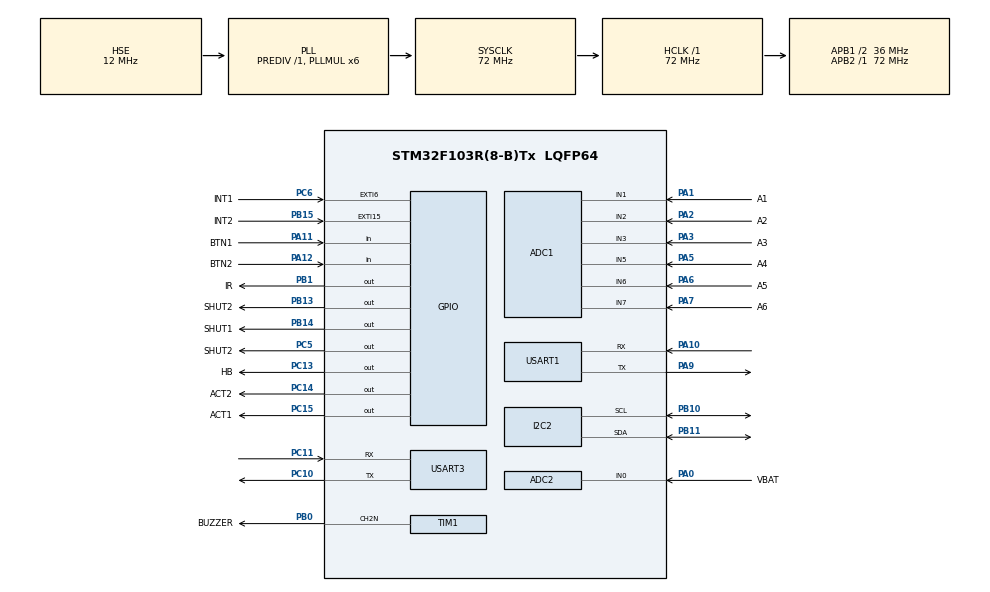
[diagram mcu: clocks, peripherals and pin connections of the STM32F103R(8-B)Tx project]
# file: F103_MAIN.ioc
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ADC1.Channel-0\#ChannelRegularConversion=ADC_CHANNEL_1
ADC1.Channel-1\#ChannelRegularConversion=ADC_CHANNEL_2
ADC1.Channel-2\#ChannelRegularConversion=ADC_CHANNEL_3
ADC1.Channel-3\#ChannelRegularConversion=ADC_CHANNEL_5
ADC1.Channel-4\#ChannelRegularConversion=ADC_CHANNEL_6
ADC1.Channel-5\#ChannelRegularConversion=ADC_CHANNEL_7
ADC1.ContinuousConvMode=ENABLE
ADC1.NbrOfConversion=6
ADC1.NbrOfConversionFlag=1
ADC1.Rank-0\#ChannelRegularConversion=1
ADC1.Rank-1\#ChannelRegularConversion=2
ADC1.Rank-2\#ChannelRegularConversion=3
ADC1.Rank-3\#ChannelRegularConversion=4
ADC1.Rank-4\#ChannelRegularConversion=5
ADC1.Rank-5\#ChannelRegularConversion=6
ADC1.SamplingTime-0\#ChannelRegularConversion=ADC_SAMPLETIME_239CYCLES_5
ADC1.SamplingTime-1\#ChannelRegularConversion=ADC_SAMPLETIME_239CYCLES_5
ADC1.SamplingTime-2\#ChannelRegularConversion=ADC_SAMPLETIME_239CYCLES_5
ADC1.SamplingTime-3\#ChannelRegularConversion=ADC_SAMPLETIME_239CYCLES_5
ADC1.SamplingTime-4\#ChannelRegularConversion=ADC_SAMPLETIME_239CYCLES_5
ADC1.SamplingTime-5\#ChannelRegularConversion=ADC_SAMPLETIME_239CYCLES_5
ADC1.master=1
ADC2.Channel-0\#ChannelRegularConversion=ADC_CHANNEL_0
ADC2.NbrOfConversionFlag=1
ADC2.Rank-0\#ChannelRegularConversion=1
ADC2.SamplingTime-0\#ChannelRegularConversion=ADC_SAMPLETIME_239CYCLES_5
Dma.ADC1.0.Direction=DMA_PERIPH_TO_MEMORY
Dma.ADC1.0.Instance=DMA1_Channel1
Dma.ADC1.0.MemDataAlignment=DMA_MDATAALIGN_HALFWORD
Dma.ADC1.0.MemInc=DMA_MINC_ENABLE
Dma.ADC1.0.Mode=DMA_CIRCULAR
Dma.ADC1.0.PeriphDataAlignment=DMA_PDATAALIGN_HALFWORD
Dma.ADC1.0.PeriphInc=DMA_PINC_DISABLE
Dma.ADC1.0.Priority=DMA_PRIORITY_LOW
Dma.Request0=ADC1
Mcu.Family=STM32F1
Mcu.Name=STM32F103R(8-B)Tx
Mcu.Package=LQFP64
NVIC.ADC1_2_IRQn=true\:0\:0\:false\:false\:true\:true\:true\:true
NVIC.DMA1_Channel1_IRQn=true\:0\:0\:false\:false\:true\:false\:true\:true
NVIC.PriorityGroup=NVIC_PRIORITYGROUP_4
PA0-WKUP.GPIO_Label=VBAT
PA0-WKUP.Signal=ADCx_IN0
PA1.GPIO_Label=A1
PA1.Signal=ADCx_IN1
PA10.Mode=Asynchronous
PA10.Signal=USART1_RX
PA11.GPIO_Label=BTN1
PA11.Signal=GPIO_Input
PA12.GPIO_Label=BTN2
PA12.Signal=GPIO_Input
PA13.Mode=Trace_Asynchronous_SW
PA13.Signal=SYS_JTMS-SWDIO
PA14.Mode=Trace_Asynchronous_SW
PA14.Signal=SYS_JTCK-SWCLK
PA2.GPIO_Label=A2
PA2.Signal=ADCx_IN2
PA3.GPIO_Label=A3
PA3.Signal=ADCx_IN3
PA5.GPIO_Label=A4
PA5.Signal=ADCx_IN5
PA6.GPIO_Label=A5
PA6.Signal=ADCx_IN6
PA7.GPIO_Label=A6
PA7.Signal=ADCx_IN7
PA9.Mode=Asynchronous
PA9.Signal=USART1_TX
PB0.GPIO_Label=BUZZER
PB0.GPIO_Speed=GPIO_SPEED_FREQ_HIGH
PB0.Mode=PWM Generation2 CH2N
PB0.Signal=TIM1_CH2N
PB1.GPIO_Label=IR
PB1.Signal=GPIO_Output
PB10.Mode=I2C
PB10.Signal=I2C2_SCL
PB11.Mode=I2C
PB11.Signal=I2C2_SDA
PB13.GPIO_Label=SHUT2
PB13.Signal=GPIO_Output
PB14.GPIO_Label=SHUT1
PB14.Signal=GPIO_Output
PB15.GPIO_Label=INT2
PB15.Signal=GPXTI15
PB3.Mode=Trace_Asynchronous_SW
PB3.Signal=SYS_JTDO-TRACESWO
PC10.Mode=Asynchronous
PC10.Signal=USART3_TX
PC11.Mode=Asynchronous
PC11.Signal=USART3_RX
PC13-TAMPER-RTC.GPIO_Label=HB
PC13-TAMPER-RTC.Signal=GPIO_Output
PC14-OSC32_IN.GPIO_Label=ACT2
PC14-OSC32_IN.Signal=GPIO_Output
PC15-OSC32_OUT.GPIO_Label=ACT1
PC15-OSC32_OUT.Signal=GPIO_Output
PC5.GPIO_Label=SHUT2
PC5.Signal=GPIO_Output
PC6.GPIO_Label=INT1
PC6.Signal=GPXTI6
PD0-OSC_IN.Mode=HSE-External-Oscillator
PD0-OSC_IN.Signal=RCC_OSC_IN
PD1-OSC_OUT.Mode=HSE-External-Oscillator
PD1-OSC_OUT.Signal=RCC_OSC_OUT
ProjectManager.HeapSize=0x200
ProjectManager.StackSize=0x400
ProjectManager.TargetToolchain=STM32CubeIDE
RCC.ADCPresc=RCC_ADCPCLK2_DIV8
RCC.AHBFreq_Value=72000000
RCC.APB1CLKDivider=RCC_HCLK_DIV2
RCC.APB1Freq_Value=36000000
RCC.APB1TimFreq_Value=72000000
RCC.APB2Freq_Value=72000000
RCC.APB2TimFreq_Value=72000000
RCC.HCLKFreq_Value=72000000
RCC.HSE_VALUE=12000000
RCC.PLLMUL=RCC_PLL_MUL6
RCC.PLLSourceVirtual=RCC_PLLSOURCE_HSE
RCC.SYSCLKFreq_VALUE=72000000
RCC.SYSCLKSource=RCC_SYSCLKSOURCE_PLLCLK
RCC.USBFreq_Value=72000000
SH.ADCx_IN0.0=ADC2_IN0,IN0
SH.ADCx_IN1.0=ADC1_IN1,IN1
SH.ADCx_IN2.0=ADC1_IN2,IN2
SH.ADCx_IN3.0=ADC1_IN3,IN3
SH.ADCx_IN5.0=ADC1_IN5,IN5
SH.ADCx_IN6.0=ADC1_IN6,IN6
SH.ADCx_IN7.0=ADC1_IN7,IN7
TIM1.Channel-PWM\ Generation2\ CH2N=TIM_CHANNEL_2
TIM1.OCMode_PWM-PWM\ Generation2\ CH2N=TIM_OCMODE_PWM1
TIM1.Prescaler=8-1
TIM1.Pulse-PWM\ Generation2\ CH2N=50-1
USART1.VirtualMode=VM_ASYNC
USART3.VirtualMode=VM_ASYNC
board=custom

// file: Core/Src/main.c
/* USER CODE BEGIN Header */
/**
  ******************************************************************************
  * @file           : main.c
  * @brief          : Main program body
  * @programmer     : lmaoPkk
  ******************************************************************************
  * @attention
  *
  * Copyright (c) 2026 STMicroelectronics.
  * All rights reserved.
  *
  * This software is licensed under terms that can be found in the LICENSE file
  * in the root directory of this software component.
  * If no LICENSE file comes with this software, it is provided AS-IS.
  *
  ******************************************************************************
  */
/* USER CODE END Header */
#include "main.h"

/* USER CODE BEGIN Includes */
#include <stdbool.h>
#include "Debug.h"
#include "VL53L1X_api.h"
#include "MOTOR_Link.h"
#include "buzzer.h"
#include "buzzer_examples.h"

/* USER CODE END Includes */

/* USER CODE BEGIN PTD */
typedef struct {
	uint16_t init_addr;      // Initial I2C bus address for the sensor
	uint16_t op_addr;        // Address after running intialization sequence
	GPIO_TypeDef* shutPort;
	uint16_t shutPin;
	GPIO_TypeDef* intPort;
	uint16_t intPin;
	VL53L1X_ERROR status;
}ToF_sensor;

#define no_of_ref_sensor 6
typedef struct {
	GPIO_TypeDef* IRPort;
	uint16_t IRPin;
	uint16_t sensor_value[no_of_ref_sensor];
	int16_t weights [no_of_ref_sensor];
}IR_array;
/* USER CODE END PTD */

/* USER CODE BEGIN PD */
#define rx_buff_size 10

/* USER CODE END PD */

/* USER CODE BEGIN PM */
#ifdef __GNUC__
#define PUTCHAR_PROTOTYPE int __io_putchar(int ch)
#else
#define PUTCHAR_PROTOTYPE int fputc(int ch, FILE *f)
#endif
/* USER CODE END PM */

ADC_HandleTypeDef hadc1;
ADC_HandleTypeDef hadc2;
DMA_HandleTypeDef hdma_adc1;

I2C_HandleTypeDef hi2c2;

TIM_HandleTypeDef htim1;

UART_HandleTypeDef huart1;
UART_HandleTypeDef huart3;

/* USER CODE BEGIN PV */
Buzzer_HandleTypeDef hbuzzer;

uint32_t value_adc;

ToF_sensor ToF_left = {
		.init_addr = 0x52,
		.op_addr = 0x052,
		.shutPort = SHUT1_GPIO_Port,
		.shutPin = SHUT1_Pin,
};
ToF_sensor ToF_right = {
		.init_addr = 0x52,
		.op_addr = 0x054,
		.shutPort = SHUT2_GPIO_Port,
		.shutPin = SHUT2_Pin,
};

VL53L1X_ERROR VL53L1X_status;

uint16_t distance;
uint8_t rangeStatus;
uint8_t rangeDataReady;

IR_array ir_sensor = {
		.IRPort = IR_GPIO_Port,
		.IRPin = IR_Pin,
		.sensor_value = {0, 0, 0, 0, 0, 0},
		.weights = {-300, -180, -60, 60, 180, 300}
};
uint16_t reflectiveArray[no_of_ref_sensor];
int16_t lineSensorWeight[] = {-300, -180, -60, 60, 180, 300};

double test_linePos;

float VBAT_divider = 102.67f / 4095.0f;// Conversion ratio, w/10x real voltage
uint8_t VBAT = 0;
/* USER CODE END PV */

void SystemClock_Config(void);
static void MX_GPIO_Init(void);
static void MX_DMA_Init(void);
static void MX_ADC1_Init(void);
static void MX_ADC2_Init(void);
static void MX_I2C2_Init(void);
static void MX_USART1_UART_Init(void);
static void MX_USART3_UART_Init(void);
static void MX_TIM1_Init(void);
/* USER CODE BEGIN PFP */
void debug_HB(void);
void tofSensorRoutine(uint16_t dev, uint8_t newDev, GPIO_TypeDef* shutPort, uint16_t shutPin);
uint8_t getVBAT();
uint16_t test_norm_value[] = {9, 494, 789, 37, 0, 0};
int16_t test_weights[] = {-375, -225, -75, 75, 225, 375};
double getLinePosition(uint16_t *norm_sensor_value, int16_t *weights);

void startupSound();
/* USER CODE END PFP */

/* USER CODE BEGIN 0 */
Buzzer_InitTypeDef buzzerConfig;

/* USER CODE END 0 */

int main(void)
{

  /* MCU Configuration--------------------------------------------------------*/

  /* Reset of all peripherals, Initializes the Flash interface and the Systick. */
  HAL_Init();

  /* Configure the system clock */
  SystemClock_Config();

  /* Initialize all configured peripherals */
  MX_GPIO_Init();
  MX_DMA_Init();
  MX_ADC1_Init();
  MX_ADC2_Init();
  MX_I2C2_Init();
  MX_USART1_UART_Init();
  MX_USART3_UART_Init();
  MX_TIM1_Init();
  /* USER CODE BEGIN 2 */
  //ToF sensors intialization
  tofSensorRoutine(ToF_left.init_addr,
		  	  	   ToF_left.op_addr,
				   ToF_left.shutPort,
				   ToF_left.shutPin);
  VL53L1X_StartRanging(ToF_left.op_addr);
  HAL_Delay(10);
//  tofSensorRoutine(ToF_right.init_addr,
//  		  	  	   ToF_right.op_addr,
//  				   ToF_right.shutPort,
//  				   ToF_right.shutPin);

  // ADC START
  HAL_GPIO_WritePin(IR_GPIO_Port, IR_Pin, GPIO_PIN_SET);
  HAL_ADC_Start_DMA(&hadc1, (uint32_t*)reflectiveArray, 6);

  test_linePos = getLinePosition(test_norm_value, test_weights);

  //startupSound();
  /* USER CODE END 2 */

  /* Infinite loop */
  /* USER CODE BEGIN WHILE */
  while (1)
  {

	  VL53L1X_CheckForDataReady(ToF_left.op_addr, &rangeDataReady);
	  if (rangeDataReady) {
		  rangeDataReady = 0;
		  VL53L1X_GetRangeStatus(ToF_left.op_addr, &rangeStatus);
		  VL53L1X_GetDistance(ToF_left.op_addr, &distance);
		  printf("R%dS%d\n", distance, rangeStatus);
		  VL53L1X_ClearInterrupt(ToF_left.op_addr);
//		  Rrate = 1000.0f / (HAL_GetTick() - last);
//		  last = HAL_GetTick();
	  }
	  debug_HB();
	  VBAT = getVBAT();
	  HAL_Delay(10);
    /* USER CODE END WHILE */

  }
}

void SystemClock_Config(void)
{
  RCC_OscInitTypeDef RCC_OscInitStruct = {0};
  RCC_ClkInitTypeDef RCC_ClkInitStruct = {0};
  RCC_PeriphCLKInitTypeDef PeriphClkInit = {0};

  /** Initializes the RCC Oscillators according to the specified parameters
  * in the RCC_OscInitTypeDef structure.
  */
  RCC_OscInitStruct.OscillatorType = RCC_OSCILLATORTYPE_HSE;
  RCC_OscInitStruct.HSEState = RCC_HSE_ON;
  RCC_OscInitStruct.HSEPredivValue = RCC_HSE_PREDIV_DIV1;
  RCC_OscInitStruct.HSIState = RCC_HSI_ON;
  RCC_OscInitStruct.PLL.PLLState = RCC_PLL_ON;
  RCC_OscInitStruct.PLL.PLLSource = RCC_PLLSOURCE_HSE;
  RCC_OscInitStruct.PLL.PLLMUL = RCC_PLL_MUL6;
  if (HAL_RCC_OscConfig(&RCC_OscInitStruct) != HAL_OK)
  {
    Error_Handler();
  }

  /** Initializes the CPU, AHB and APB buses clocks
  */
  RCC_ClkInitStruct.ClockType = RCC_CLOCKTYPE_HCLK|RCC_CLOCKTYPE_SYSCLK
                              |RCC_CLOCKTYPE_PCLK1|RCC_CLOCKTYPE_PCLK2;
  RCC_ClkInitStruct.SYSCLKSource = RCC_SYSCLKSOURCE_PLLCLK;
  RCC_ClkInitStruct.AHBCLKDivider = RCC_SYSCLK_DIV1;
  RCC_ClkInitStruct.APB1CLKDivider = RCC_HCLK_DIV2;
  RCC_ClkInitStruct.APB2CLKDivider = RCC_HCLK_DIV1;

  if (HAL_RCC_ClockConfig(&RCC_ClkInitStruct, FLASH_LATENCY_2) != HAL_OK)
  {
    Error_Handler();
  }
  PeriphClkInit.PeriphClockSelection = RCC_PERIPHCLK_ADC;
  PeriphClkInit.AdcClockSelection = RCC_ADCPCLK2_DIV8;
  if (HAL_RCCEx_PeriphCLKConfig(&PeriphClkInit) != HAL_OK)
  {
    Error_Handler();
  }
}

static void MX_ADC1_Init(void)
{

  ADC_ChannelConfTypeDef sConfig = {0};

  /** Common config
  */
  hadc1.Instance = ADC1;
  hadc1.Init.ScanConvMode = ADC_SCAN_ENABLE;
  hadc1.Init.ContinuousConvMode = ENABLE;
  hadc1.Init.DiscontinuousConvMode = DISABLE;
  hadc1.Init.ExternalTrigConv = ADC_SOFTWARE_START;
  hadc1.Init.DataAlign = ADC_DATAALIGN_RIGHT;
  hadc1.Init.NbrOfConversion = 6;
  if (HAL_ADC_Init(&hadc1) != HAL_OK)
  {
    Error_Handler();
  }

  /** Configure Regular Channel
  */
  sConfig.Channel = ADC_CHANNEL_1;
  sConfig.Rank = ADC_REGULAR_RANK_1;
  sConfig.SamplingTime = ADC_SAMPLETIME_239CYCLES_5;
  if (HAL_ADC_ConfigChannel(&hadc1, &sConfig) != HAL_OK)
  {
    Error_Handler();
  }

  /** Configure Regular Channel
  */
  sConfig.Channel = ADC_CHANNEL_2;
  sConfig.Rank = ADC_REGULAR_RANK_2;
  if (HAL_ADC_ConfigChannel(&hadc1, &sConfig) != HAL_OK)
  {
    Error_Handler();
  }

  /** Configure Regular Channel
  */
  sConfig.Channel = ADC_CHANNEL_3;
  sConfig.Rank = ADC_REGULAR_RANK_3;
  if (HAL_ADC_ConfigChannel(&hadc1, &sConfig) != HAL_OK)
  {
    Error_Handler();
  }

  /** Configure Regular Channel
  */
  sConfig.Channel = ADC_CHANNEL_5;
  sConfig.Rank = ADC_REGULAR_RANK_4;
  if (HAL_ADC_ConfigChannel(&hadc1, &sConfig) != HAL_OK)
  {
    Error_Handler();
  }

  /** Configure Regular Channel
  */
  sConfig.Channel = ADC_CHANNEL_6;
  sConfig.Rank = ADC_REGULAR_RANK_5;
  if (HAL_ADC_ConfigChannel(&hadc1, &sConfig) != HAL_OK)
  {
    Error_Handler();
  }

  /** Configure Regular Channel
  */
  sConfig.Channel = ADC_CHANNEL_7;
  sConfig.Rank = ADC_REGULAR_RANK_6;
  if (HAL_ADC_ConfigChannel(&hadc1, &sConfig) != HAL_OK)
  {
    Error_Handler();
  }

}

static void MX_ADC2_Init(void)
{

  ADC_ChannelConfTypeDef sConfig = {0};

  /** Common config
  */
  hadc2.Instance = ADC2;
  hadc2.Init.ScanConvMode = ADC_SCAN_DISABLE;
  hadc2.Init.ContinuousConvMode = DISABLE;
  hadc2.Init.DiscontinuousConvMode = DISABLE;
  hadc2.Init.ExternalTrigConv = ADC_SOFTWARE_START;
  hadc2.Init.DataAlign = ADC_DATAALIGN_RIGHT;
  hadc2.Init.NbrOfConversion = 1;
  if (HAL_ADC_Init(&hadc2) != HAL_OK)
  {
    Error_Handler();
  }

  /** Configure Regular Channel
  */
  sConfig.Channel = ADC_CHANNEL_0;
  sConfig.Rank = ADC_REGULAR_RANK_1;
  sConfig.SamplingTime = ADC_SAMPLETIME_239CYCLES_5;
  if (HAL_ADC_ConfigChannel(&hadc2, &sConfig) != HAL_OK)
  {
    Error_Handler();
  }

}

static void MX_I2C2_Init(void)
{

  hi2c2.Instance = I2C2;
  hi2c2.Init.ClockSpeed = 100000;
  hi2c2.Init.DutyCycle = I2C_DUTYCYCLE_2;
  hi2c2.Init.OwnAddress1 = 0;
  hi2c2.Init.AddressingMode = I2C_ADDRESSINGMODE_7BIT;
  hi2c2.Init.DualAddressMode = I2C_DUALADDRESS_DISABLE;
  hi2c2.Init.OwnAddress2 = 0;
  hi2c2.Init.GeneralCallMode = I2C_GENERALCALL_DISABLE;
  hi2c2.Init.NoStretchMode = I2C_NOSTRETCH_DISABLE;
  if (HAL_I2C_Init(&hi2c2) != HAL_OK)
  {
    Error_Handler();
  }

}

static void MX_TIM1_Init(void)
{

  TIM_MasterConfigTypeDef sMasterConfig = {0};
  TIM_OC_InitTypeDef sConfigOC = {0};
  TIM_BreakDeadTimeConfigTypeDef sBreakDeadTimeConfig = {0};

  htim1.Instance = TIM1;
  htim1.Init.Prescaler = 8-1;
  htim1.Init.CounterMode = TIM_COUNTERMODE_UP;
  htim1.Init.Period = 65535;
  htim1.Init.ClockDivision = TIM_CLOCKDIVISION_DIV1;
  htim1.Init.RepetitionCounter = 0;
  htim1.Init.AutoReloadPreload = TIM_AUTORELOAD_PRELOAD_DISABLE;
  if (HAL_TIM_PWM_Init(&htim1) != HAL_OK)
  {
    Error_Handler();
  }
  sMasterConfig.MasterOutputTrigger = TIM_TRGO_RESET;
  sMasterConfig.MasterSlaveMode = TIM_MASTERSLAVEMODE_DISABLE;
  if (HAL_TIMEx_MasterConfigSynchronization(&htim1, &sMasterConfig) != HAL_OK)
  {
    Error_Handler();
  }
  sConfigOC.OCMode = TIM_OCMODE_PWM1;
  sConfigOC.Pulse = 50-1;
  sConfigOC.OCPolarity = TIM_OCPOLARITY_HIGH;
  sConfigOC.OCNPolarity = TIM_OCNPOLARITY_HIGH;
  sConfigOC.OCFastMode = TIM_OCFAST_DISABLE;
  sConfigOC.OCIdleState = TIM_OCIDLESTATE_RESET;
  sConfigOC.OCNIdleState = TIM_OCNIDLESTATE_RESET;
  if (HAL_TIM_PWM_ConfigChannel(&htim1, &sConfigOC, TIM_CHANNEL_2) != HAL_OK)
  {
    Error_Handler();
  }
  sBreakDeadTimeConfig.OffStateRunMode = TIM_OSSR_DISABLE;
  sBreakDeadTimeConfig.OffStateIDLEMode = TIM_OSSI_DISABLE;
  sBreakDeadTimeConfig.LockLevel = TIM_LOCKLEVEL_OFF;
  sBreakDeadTimeConfig.DeadTime = 0;
  sBreakDeadTimeConfig.BreakState = TIM_BREAK_DISABLE;
  sBreakDeadTimeConfig.BreakPolarity = TIM_BREAKPOLARITY_HIGH;
  sBreakDeadTimeConfig.AutomaticOutput = TIM_AUTOMATICOUTPUT_DISABLE;
  if (HAL_TIMEx_ConfigBreakDeadTime(&htim1, &sBreakDeadTimeConfig) != HAL_OK)
  {
    Error_Handler();
  }
  HAL_TIM_MspPostInit(&htim1);

}

static void MX_USART1_UART_Init(void)
{

  huart1.Instance = USART1;
  huart1.Init.BaudRate = 115200;
  huart1.Init.WordLength = UART_WORDLENGTH_8B;
  huart1.Init.StopBits = UART_STOPBITS_1;
  huart1.Init.Parity = UART_PARITY_NONE;
  huart1.Init.Mode = UART_MODE_TX_RX;
  huart1.Init.HwFlowCtl = UART_HWCONTROL_NONE;
  huart1.Init.OverSampling = UART_OVERSAMPLING_16;
  if (HAL_UART_Init(&huart1) != HAL_OK)
  {
    Error_Handler();
  }

}

static void MX_USART3_UART_Init(void)
{

  huart3.Instance = USART3;
  huart3.Init.BaudRate = 115200;
  huart3.Init.WordLength = UART_WORDLENGTH_8B;
  huart3.Init.StopBits = UART_STOPBITS_1;
  huart3.Init.Parity = UART_PARITY_NONE;
  huart3.Init.Mode = UART_MODE_TX_RX;
  huart3.Init.HwFlowCtl = UART_HWCONTROL_NONE;
  huart3.Init.OverSampling = UART_OVERSAMPLING_16;
  if (HAL_UART_Init(&huart3) != HAL_OK)
  {
    Error_Handler();
  }

}

static void MX_DMA_Init(void)
{

  /* DMA controller clock enable */
  __HAL_RCC_DMA1_CLK_ENABLE();

  /* DMA interrupt init */
  /* DMA1_Channel1_IRQn interrupt configuration */
  HAL_NVIC_SetPriority(DMA1_Channel1_IRQn, 0, 0);
  HAL_NVIC_EnableIRQ(DMA1_Channel1_IRQn);

}

static void MX_GPIO_Init(void)
{
  GPIO_InitTypeDef GPIO_InitStruct = {0};

  /* GPIO Ports Clock Enable */
  __HAL_RCC_GPIOC_CLK_ENABLE();
  __HAL_RCC_GPIOD_CLK_ENABLE();
  __HAL_RCC_GPIOA_CLK_ENABLE();
  __HAL_RCC_GPIOB_CLK_ENABLE();

  /*Configure GPIO pin Output Level */
  HAL_GPIO_WritePin(GPIOC, HB_Pin|ACT2_Pin|ACT1_Pin|SHUT2_Pin, GPIO_PIN_RESET);

  /*Configure GPIO pin Output Level */
  HAL_GPIO_WritePin(GPIOB, IR_Pin|SHUT2B13_Pin|SHUT1_Pin, GPIO_PIN_RESET);

  /*Configure GPIO pins : HB_Pin ACT2_Pin ACT1_Pin SHUT2_Pin */
  GPIO_InitStruct.Pin = HB_Pin|ACT2_Pin|ACT1_Pin|SHUT2_Pin;
  GPIO_InitStruct.Mode = GPIO_MODE_OUTPUT_PP;
  GPIO_InitStruct.Pull = GPIO_NOPULL;
  GPIO_InitStruct.Speed = GPIO_SPEED_FREQ_LOW;
  HAL_GPIO_Init(GPIOC, &GPIO_InitStruct);

  /*Configure GPIO pins : IR_Pin SHUT2B13_Pin SHUT1_Pin */
  GPIO_InitStruct.Pin = IR_Pin|SHUT2B13_Pin|SHUT1_Pin;
  GPIO_InitStruct.Mode = GPIO_MODE_OUTPUT_PP;
  GPIO_InitStruct.Pull = GPIO_NOPULL;
  GPIO_InitStruct.Speed = GPIO_SPEED_FREQ_LOW;
  HAL_GPIO_Init(GPIOB, &GPIO_InitStruct);

  /*Configure GPIO pin : INT2_Pin */
  GPIO_InitStruct.Pin = INT2_Pin;
  GPIO_InitStruct.Mode = GPIO_MODE_IT_RISING;
  GPIO_InitStruct.Pull = GPIO_NOPULL;
  HAL_GPIO_Init(INT2_GPIO_Port, &GPIO_InitStruct);

  /*Configure GPIO pin : INT1_Pin */
  GPIO_InitStruct.Pin = INT1_Pin;
  GPIO_InitStruct.Mode = GPIO_MODE_IT_RISING;
  GPIO_InitStruct.Pull = GPIO_NOPULL;
  HAL_GPIO_Init(INT1_GPIO_Port, &GPIO_InitStruct);

  /*Configure GPIO pins : BTN1_Pin BTN2_Pin */
  GPIO_InitStruct.Pin = BTN1_Pin|BTN2_Pin;
  GPIO_InitStruct.Mode = GPIO_MODE_INPUT;
  GPIO_InitStruct.Pull = GPIO_NOPULL;
  HAL_GPIO_Init(GPIOA, &GPIO_InitStruct);

}

/* USER CODE BEGIN 4 */
/*
 *  ========= DEBUGGING ==========
 * */
PUTCHAR_PROTOTYPE
{
	HAL_UART_Transmit(&huart1, (uint8_t *)&ch, 1, HAL_MAX_DELAY);
	return ch;
}
void debug_HB() {
	static uint32_t lastTick = 0;
	if (HAL_GetTick() - lastTick >= 1000) {
		lastTick = HAL_GetTick();
		HAL_GPIO_TogglePin(HB_GPIO_Port, HB_Pin);
	}
}
void startupSound() {
	buzzerConfig.channel = TIM_CHANNEL_2;
	buzzerConfig.timer = &htim1;
	buzzerConfig.timerClockFreqHz = HAL_RCC_GetPCLK2Freq(); // NOTE: this should be freq of timer, not frequency of peripheral clock
	Buzzer_Init(&hbuzzer, &buzzerConfig);
	Buzzer_Start(&hbuzzer);

	const size_t songSize = sizeof(buzzer_mario_theme) / sizeof(buzzer_mario_theme[0]);
	for (size_t i = 0; i < songSize; i++) {
		Buzzer_Note(&hbuzzer, buzzer_mario_theme[i].pitch);
		HAL_Delay(buzzer_mario_theme[i].duration * 12);
	}
	Buzzer_Note(&hbuzzer, 0);
}

double getLinePosition(uint16_t *norm_sensor_value, int16_t *weights) {
	int32_t sum_value = 0;
	int32_t sum_weighted = 0;
	float linePosition = 0;

	for (int i = 0; i < no_of_ref_sensor; i++) {
		sum_weighted += norm_sensor_value[i] * weights[i];
	}

	for(int i = 0; i < no_of_ref_sensor; i++) {
		sum_value += norm_sensor_value[i];
	}
	linePosition = (double)(sum_weighted / (sum_value*10.0f));
	return linePosition;
}

uint8_t getVBAT() {
	uint16_t value_adc;
	HAL_ADC_Start(&hadc2);
	if (HAL_ADC_PollForConversion(&hadc2, 10) == HAL_OK) {
	    value_adc = HAL_ADC_GetValue(&hadc2);
	}

	return (uint8_t)(value_adc * VBAT_divider);
}
/*
 *  ========= ToF Sensor Routines ==========
 * */
void tofSensorRoutine(uint16_t dev, uint8_t newDev, GPIO_TypeDef* shutPort, uint16_t shutPin) {
	dbg_printf("TOF SENSOR ROUTINE\n");
	uint8_t tofBootState = 0;
	uint8_t Timeout = 0;

	HAL_GPIO_WritePin(shutPort, shutPin, GPIO_PIN_RESET); // Power cycling the sensor to reset address
	HAL_Delay(2);
	HAL_GPIO_WritePin(shutPort, shutPin, GPIO_PIN_SET);

	dbg_printf("Checking boot state\n");
	while(tofBootState == 0) {
		VL53L1X_status = VL53L1X_BootState(dev, &tofBootState);
		Timeout++;
		if (Timeout >= 200) {
			dbg_printf("Sensor not booting\n");
			Error_Handler();
			}
		HAL_Delay(2);
		}
	dbg_printf("Sensor booted\n");

	/* Initialize sensor */
	VL53L1X_status = VL53L1X_SensorInit(dev);
	dbg_printf("Sensor initialization status: 0x%x\n", VL53L1X_status);
	if (dev != newDev) {
		dbg_printf("Changing address to 0x%x\n", newDev);
		VL53L1X_status = VL53L1X_SetI2CAddress(dev, newDev);
		dbg_printf("Set I2C Address status: 0x%x\n", VL53L1X_status);
		}
	HAL_Delay(10);

	/* Modify default configurations */
	VL53L1X_status = VL53L1X_SetDistanceMode(newDev, 1);
	dbg_printf("Set Distance Mode status: 0x%x\n", VL53L1X_status);
	VL53L1X_status = VL53L1X_SetTimingBudgetInMs(newDev, 20);
	dbg_printf("Set timing budget status: 0x%x\n", VL53L1X_status);
	VL53L1X_status = VL53L1X_SetInterMeasurementInMs(newDev, 20);
	dbg_printf("Set InterMeasurement status: 0x%x\n", VL53L1X_status);
	//status = VL53L1X_SetOffset(tof1, 0);
	dbg_printf("Sensor routine done\n");
	return;
}

void HAL_ADC_ConvCpltCallback(ADC_HandleTypeDef *hadc)
{

}
/* USER CODE END 4 */

void Error_Handler(void)
{
  /* USER CODE BEGIN Error_Handler_Debug */
  /* User can add his own implementation to report the HAL error return state */
  __disable_irq();
  while (1)
  {
	  HAL_GPIO_TogglePin(HB_GPIO_Port, HB_Pin);
	  HAL_Delay(200);
  }
  /* USER CODE END Error_Handler_Debug */
}
